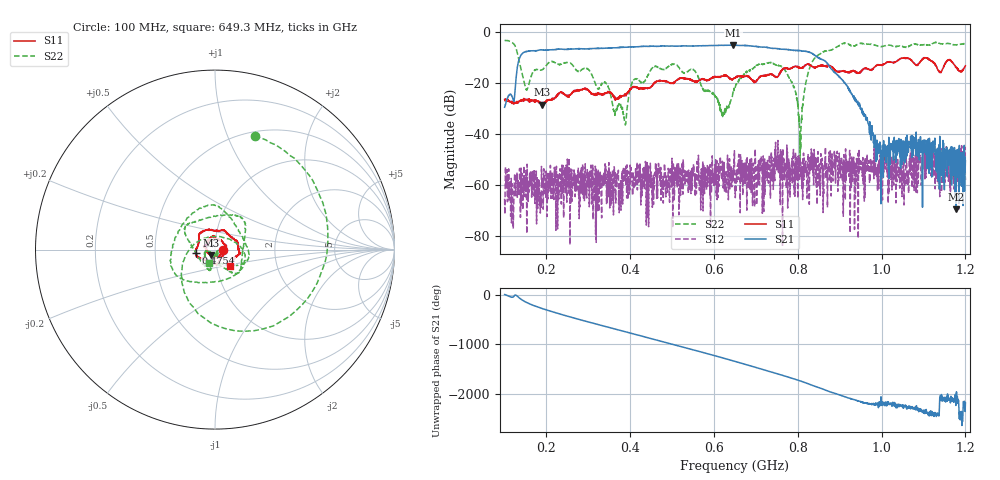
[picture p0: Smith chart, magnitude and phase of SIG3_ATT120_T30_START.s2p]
# Hz S RI R 50
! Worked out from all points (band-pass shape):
!   1601 points, 100 MHz to 1.2 GHz, reference 50 ohm
!   highest |S21| = -5.21 dB at 645.9 MHz (marker M1); lowest = -69.5 dB at 1.177 GHz (marker M2)
!   |S21| within 3 dB of the highest: 145 MHz to 830.1 MHz (685.1 MHz wide, 141 % of centre)
!   lowest |S11| = -28.6 dB at 188.7 MHz (marker M3), VSWR 1.08, Z = 47.9 - j2.96 ohm
!   |S11| at or under -10 dB: start of sweep to end of sweep
!   |S22| runs from -51.6 to -3.4 dB; largest |S21 - S12| = 0.55
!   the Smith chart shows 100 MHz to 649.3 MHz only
!   S11 on the Smith chart (normalised r, x): 100 MHz: 1.10, -0.00; 475.4 MHz: 0.81, -0.03; 649.3 MHz: 1.16, -0.22
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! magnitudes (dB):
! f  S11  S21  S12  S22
! 100 MHz  -26.5  -29.6  -65.4  -3.5
! 124.8 MHz  -28.0  -23.5  -58.4  -5.4
! 151.6 MHz  -26.4  -7.8  -60.6  -22.4
! 188.7 MHz  -28.6  -7.1  -57.4  -15.0
! 283.6 MHz  -22.7  -6.7  -53.3  -15.0
! 386.7 MHz  -24.5  -6.1  -56.6  -35.2
! 407.3 MHz  -21.5  -6.0  -55.0  -19.1
! 467.1 MHz  -19.4  -5.7  -51.6  -13.9
! 475.4 MHz  -19.2  -5.5  -62.9  -14.8
! 551.7 MHz  -19.5  -5.6  -51.9  -15.0
! 620.4 MHz  -17.4  -5.4  -53.2  -33.2
! 645.9 MHz  -18.5  -5.2  -53.6  -23.5
! 649.3 MHz  -18.1  -5.3  -62.0  -21.9
! 650 MHz  -18.2  -5.3  -60.9  -21.5
! 759.3 MHz  -15.7  -6.8  -49.2  -13.5
! 790.9 MHz  -13.7  -7.3  -61.5  -21.8
! 806.8 MHz  -14.3  -7.4  -51.0  -46.2
! 833.6 MHz  -13.5  -8.4  -51.7  -12.1
! 995.1 MHz  -13.0  -47.3  -52.7  -5.8
! 1.017 GHz  -11.9  -41.4  -63.6  -5.2
! 1.177 GHz  -13.8  -69.5  -54.8  -5.2
! 1.2 GHz  -13.3  -50.6  -58.1  -4.5
